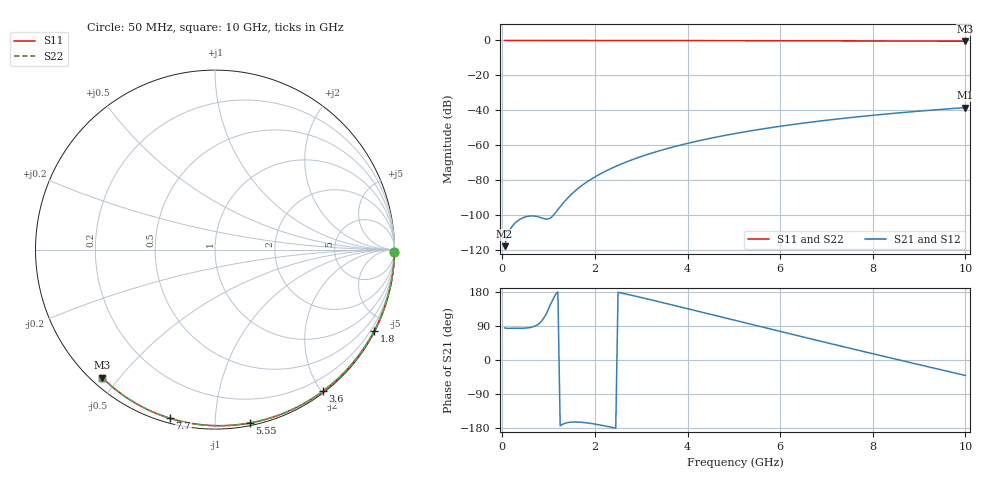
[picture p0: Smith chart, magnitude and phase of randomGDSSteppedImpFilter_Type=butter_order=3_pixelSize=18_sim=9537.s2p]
! freq	dB(S11)	phase(S11)	dB(S12)	phase(S12)
!  dB(S21)	phase(S21)	dB(S22)	phase(S22)
!S-par simulation data
#  GHz  S  DB  R 50
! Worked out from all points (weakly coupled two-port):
!   200 points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, 50 MHz to 10 GHz, reference 50 ohm
!   highest |S21| = -38.42 dB at 10 GHz (marker M1); lowest = -117.7 dB at 50 MHz (marker M2)
!   lowest |S11| = -0.4 dB at 10 GHz (marker M3), VSWR 39.19, Z = 1.54 - j22.6 ohm
!   |S11| at or under -10 dB: nowhere
!   |S22| runs from -0.4 to 0.0 dB; largest |S21 - S12| = 0
!   S11 on the Smith chart (normalised r, x): 50 MHz: open; 1.8 GHz: 0.04, -4.18; 3.6 GHz: 0.02, -2.02; 5.55 GHz: 0.02, -1.22; 7.7 GHz: 0.02, -0.77; 10 GHz: 0.03, -0.45
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0.05  -0.00 -0.8  -117.70 84.6  -117.70 84.6  -0.00 -0.8
0.9  -0.02 -13.6  -101.97 111.6  -101.97 111.6  -0.02 -13.6
1.75  -0.03 -26.2  -82.36 -164.8  -82.36 -164.8  -0.03 -26.2
1.8  -0.03 -26.9  -81.43 -165.5  -81.43 -165.5  -0.03 -26.9
1.85  -0.04 -27.6  -80.54 -166.3  -80.54 -166.3  -0.04 -27.6
1.9  -0.04 -28.4  -79.68 -167.1  -79.68 -167.1  -0.04 -28.4
2.05  -0.04 -30.6  -77.31 -170.2  -77.31 -170.2  -0.04 -30.6
2.25  -0.04 -33.5  -74.51 -174.8  -74.51 -174.8  -0.04 -33.5
2.45  -0.05 -36.4  -72.03 -179.9  -72.03 -179.9  -0.05 -36.4
2.65  -0.05 -39.2  -69.81 174.7  -69.81 174.7  -0.05 -39.2
3  -0.06 -44.2  -66.41 164.9  -66.41 164.9  -0.06 -44.2
3.4  -0.07 -49.8  -63.07 153.3  -63.07 153.3  -0.07 -49.8
3.6  -0.07 -52.6  -61.58 147.4  -61.58 147.4  -0.07 -52.6
4.3  -0.09 -62.2  -57.07 126.4  -57.07 126.4  -0.09 -62.2
5.05  -0.11 -72.1  -53.14 103.9  -53.14 103.9  -0.11 -72.1
5.55  -0.13 -78.6  -50.90 88.9  -50.90 88.9  -0.13 -78.6
6.1  -0.15 -85.6  -48.72 72.5  -48.72 72.5  -0.15 -85.6
6.7  -0.18 -93.0  -46.62 54.6  -46.62 54.6  -0.18 -93.0
7.7  -0.24 -105.0  -43.62 25.3  -43.62 25.3  -0.24 -105.0
8.35  -0.29 -112.5  -41.94 6.4  -41.94 6.4  -0.29 -112.5
9.15  -0.36 -121.7  -40.12 -16.6  -40.12 -16.6  -0.36 -121.7
10  -0.44 -131.3  -38.42 -40.8  -38.42 -40.8  -0.44 -131.3
